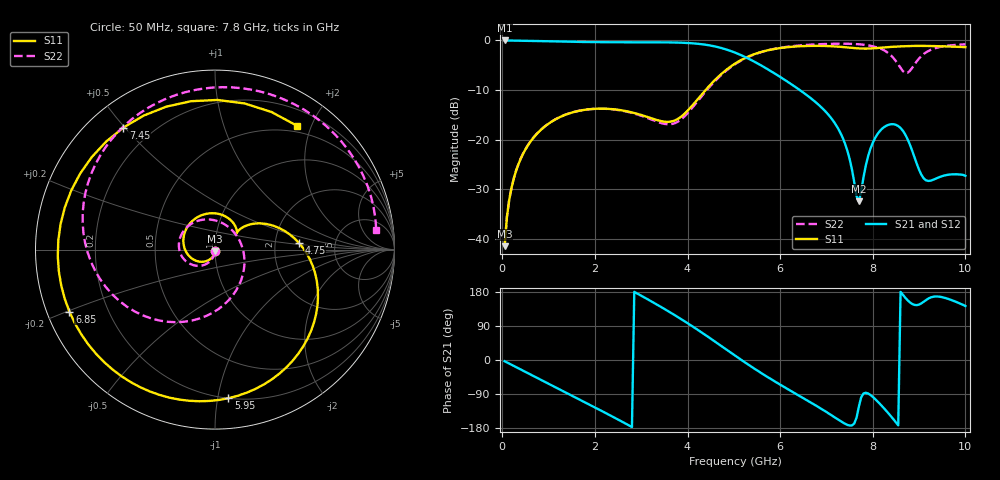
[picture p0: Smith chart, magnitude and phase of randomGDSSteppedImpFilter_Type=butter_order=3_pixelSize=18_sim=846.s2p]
! freq	dB(S11)	phase(S11)	dB(S12)	phase(S12)
!  dB(S21)	phase(S21)	dB(S22)	phase(S22)
!S-par simulation data
#  GHz  S  DB  R 50
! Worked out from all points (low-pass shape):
!   200 points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, 50 MHz to 10 GHz, reference 50 ohm
!   highest |S21| = -0.01 dB at 50 MHz (marker M1); lowest = -32.4 dB at 7.7 GHz (marker M2)
!   |S21| within 3 dB of the highest: start of sweep to 5.166 GHz
!   lowest |S11| = -41.4 dB at 50 MHz (marker M3), VSWR 1.02, Z = 50 - j0.848 ohm
!   |S11| at or under -10 dB: start of sweep to 4.388 GHz
!   |S22| runs from -41.4 to -0.7 dB; largest |S21 - S12| = 0
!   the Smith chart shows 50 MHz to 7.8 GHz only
!   S11 on the Smith chart (normalised r, x): 50 MHz: 1.00, -0.02; 4.75 GHz: 2.73, +0.27; 5.95 GHz: 0.20, -1.07; 6.85 GHz: 0.07, -0.20; 7.45 GHz: 0.10, +0.50; 7.8 GHz: 0.41, +1.78
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0.05  -41.43 -91.6  -0.01 -3.2  -0.01 -3.2  -41.43 -91.4
0.2  -29.63 -104.2  -0.03 -12.7  -0.03 -12.7  -29.62 -100.0
0.5  -21.94 -126.9  -0.07 -31.4  -0.07 -31.4  -21.91 -116.6
1.75  -14.01 140.4  -0.31 -109.4  -0.31 -109.4  -14.01 179.3
2.65  -14.20 74.6  -0.38 -167.0  -0.38 -167.0  -14.26 130.4
3.4  -16.19 38.3  -0.38 142.0  -0.38 142.0  -16.55 65.0
4.1  -13.14 37.4  -0.57 89.3  -0.57 89.3  -13.58 -42.4
4.75  -6.60 4.8  -1.58 35.2  -1.58 35.2  -6.77 -118.1
5.05  -4.53 -17.2  -2.55 9.6  -2.55 9.6  -4.64 -147.3
5.95  -1.60 -84.8  -7.05 -61.4  -7.05 -61.4  -1.57 137.0
6.7  -1.09 -143.2  -11.92 -114.9  -11.92 -114.9  -0.83 84.1
6.85  -1.09 -156.9  -13.12 -125.9  -13.12 -125.9  -0.76 74.1
7.45  -1.41 126.9  -22.17 -171.1  -22.17 -171.1  -0.67 33.6
7.7  -1.61 78.5  -32.43 -123.0  -32.43 -123.0  -0.78 15.0
7.8  -1.65 56.7  -27.55 -88.3  -27.55 -88.3  -0.87 6.8
8.05  -1.56 2.0  -19.66 -102.9  -19.66 -102.9  -1.29 -16.5
8.35  -1.33 -52.0  -16.96 -142.3  -16.96 -142.3  -2.66 -57.6
8.55  -1.22 -79.5  -17.24 -172.4  -17.24 -172.4  -4.86 -106.4
8.7  -1.16 -96.8  -18.93 164.7  -18.93 164.7  -6.54 -166.4
9.05  -1.10 -130.8  -27.06 149.6  -27.06 149.6  -3.14 74.6
9.45  -1.17 -163.7  -27.49 166.9  -27.49 166.9  -1.33 23.4
10  -1.35 153.6  -27.27 142.3  -27.27 142.3  -0.79 -11.5
